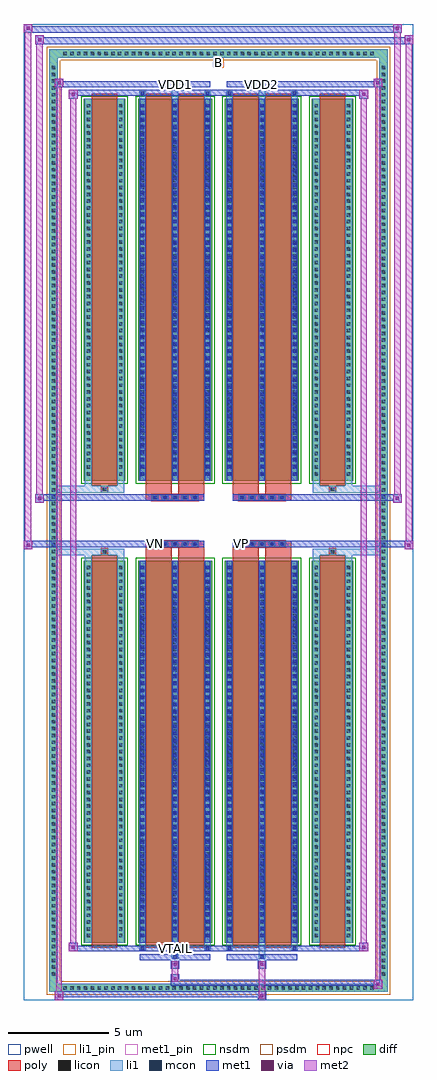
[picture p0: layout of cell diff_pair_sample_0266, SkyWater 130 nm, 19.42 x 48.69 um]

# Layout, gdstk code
import gdstk
lib = gdstk.Library(unit=1e-6, precision=5e-09)
def R(c, l, rs):  # rectangles x0, y0, x1, y1
    for r in rs: c.add(gdstk.rectangle(r[:2], r[2:], *l))
def A(c, l, x, y, w, h, nx, ny, dx, dy):  # array of equal rectangles
    R(c, l, [(x+i*dx, y+j*dy, x+i*dx+w, y+j*dy+h) for i in range(nx) for j in range(ny)])
def P(c, l, *ps):  # polygons
    for p in ps: c.add(gdstk.Polygon(p, *l))
pwell = (64, 44)
diff = (65, 20)
poly = (66, 20)
licon = (66, 44)
li1_pin = (67, 16)
li1 = (67, 20)
mcon = (67, 44)
met1_pin = (68, 16)
met1 = (68, 20)
via = (68, 44)
met2 = (69, 20)
nsdm = (93, 44)
psdm = (94, 20)
npc = (95, 20)

diff_pair_sample_0266 = lib.new_cell('diff_pair_sample_0266')
R(diff_pair_sample_0266, pwell, [(-9.71,-23.91,9.71,24.78), (-7.03,-22.1,-0.01,-0.8), (0.01,-22.1,7.03,-0.8), (-7.03,0.8,-0.01,22.1), (0.01,0.8,7.03,22.1)])
A(diff_pair_sample_0266, diff, -7.855, -23.51, 0.41, 0.41, 46, 2, 0.34, 46.61)
A(diff_pair_sample_0266, diff, -8.44, -22.815, 0.41, 0.41, 1, 134, 0, 0.34)
A(diff_pair_sample_0266, diff, 8.03, -22.815, 0.41, 0.41, 1, 134, 0, 0.34)
R(diff_pair_sample_0266, diff, [(-7.855,-23.51,7.855,-23.1), (-8.44,-22.815,-8.03,22.815), (8.03,-22.815,8.44,22.815), (-6.72,-21.055,-4.65,-1.985), (-4.01,-21.055,-0.32,-1.985), (0.32,-21.055,4.01,-1.985), (4.65,-21.055,6.72,-1.985), (-6.72,1.985,-4.65,21.055), (-4.01,1.985,-0.32,21.055), (0.32,1.985,4.01,21.055), (4.65,1.985,6.72,21.055), (-7.855,23.1,7.855,23.51)])
P(diff_pair_sample_0266, diff, [(8.44,23.51),(-8.44,23.51),(-8.44,-23.1),(-8.03,-23.1),(-8.03,23.1),(8.03,23.1),(8.03,-23.1),(-8.03,-23.1),(-8.44,-23.1),(-8.44,-23.51),(8.44,-23.51)])
A(diff_pair_sample_0266, poly, -3.33, -1.33, 0.33, 0.33, 5, 2, 0.5, 2.33)
A(diff_pair_sample_0266, poly, 1, -1.33, 0.33, 0.33, 5, 2, 0.5, 2.33)
R(diff_pair_sample_0266, poly, [(-6.33,-21.305,-5.04,-1.735), (-3.62,-21.305,-2.33,-1.735), (-2,-21.305,-0.71,-1.735), (0.71,-21.305,2,-1.735), (2.33,-21.305,3.62,-1.735), (5.04,-21.305,6.33,-1.735), (-5.85,-1.735,-5.52,-1.405), (-5.85,-1.735,-5.52,-1.405), (-3.62,-1.735,-2.33,-1.33), (-2,-1.735,-0.71,-1.33), (0.71,-1.735,2,-1.33), (2.33,-1.735,3.62,-1.33), (5.52,-1.735,5.85,-1.405), (5.52,-1.735,5.85,-1.405), (-3.62,-1.33,-0.71,-1), (0.71,-1.33,3.62,-1), (-3.62,1,-0.71,1.33), (0.71,1,3.62,1.33), (-3.62,1.33,-2.33,1.735), (-2,1.33,-0.71,1.735), (0.71,1.33,2,1.735), (2.33,1.33,3.62,1.735), (-5.85,1.405,-5.52,1.735), (-5.85,1.405,-5.52,1.735), (5.52,1.405,5.85,1.735), (5.52,1.405,5.85,1.735), (-6.33,1.735,-5.04,21.305), (-3.62,1.735,-2.33,21.305), (-2,1.735,-0.71,21.305), (0.71,1.735,2,21.305), (2.33,1.735,3.62,21.305), (5.04,1.735,6.33,21.305)])
A(diff_pair_sample_0266, licon, -7.735, -23.39, 0.17, 0.17, 46, 2, 0.34, 46.61)
A(diff_pair_sample_0266, licon, -8.32, -22.695, 0.17, 0.17, 1, 134, 0, 0.34)
A(diff_pair_sample_0266, licon, 8.15, -22.695, 0.17, 0.17, 1, 134, 0, 0.34)
A(diff_pair_sample_0266, licon, -6.58, -20.785, 0.17, 0.17, 1, 55, 0, 0.34)
A(diff_pair_sample_0266, licon, -4.96, -20.785, 0.17, 0.17, 1, 55, 0, 0.34)
A(diff_pair_sample_0266, licon, -3.87, -20.785, 0.17, 0.17, 3, 55, 1.62, 0.34)
A(diff_pair_sample_0266, licon, 0.46, -20.785, 0.17, 0.17, 3, 55, 1.62, 0.34)
A(diff_pair_sample_0266, licon, 4.79, -20.785, 0.17, 0.17, 1, 55, 0, 0.34)
A(diff_pair_sample_0266, licon, 6.41, -20.785, 0.17, 0.17, 1, 55, 0, 0.34)
A(diff_pair_sample_0266, licon, -3.25, -1.25, 0.17, 0.17, 5, 2, 0.5, 2.33)
A(diff_pair_sample_0266, licon, 1.08, -1.25, 0.17, 0.17, 5, 2, 0.5, 2.33)
A(diff_pair_sample_0266, licon, -6.58, 2.255, 0.17, 0.17, 1, 55, 0, 0.34)
A(diff_pair_sample_0266, licon, -4.96, 2.255, 0.17, 0.17, 1, 55, 0, 0.34)
A(diff_pair_sample_0266, licon, -3.87, 2.255, 0.17, 0.17, 3, 55, 1.62, 0.34)
A(diff_pair_sample_0266, licon, 0.46, 2.255, 0.17, 0.17, 3, 55, 1.62, 0.34)
A(diff_pair_sample_0266, licon, 4.79, 2.255, 0.17, 0.17, 1, 55, 0, 0.34)
A(diff_pair_sample_0266, licon, 6.41, 2.255, 0.17, 0.17, 1, 55, 0, 0.34)
R(diff_pair_sample_0266, licon, [(-5.77,-1.655,-5.6,-1.485), (5.6,-1.655,5.77,-1.485), (-5.77,1.485,-5.6,1.655), (5.6,1.485,5.77,1.655)])
R(diff_pair_sample_0266, li1_pin, [(-0.25,22.6,0.25,23.1)])
A(diff_pair_sample_0266, li1, -7.815, -23.47, 0.33, 0.33, 46, 2, 0.34, 46.61)
A(diff_pair_sample_0266, li1, -8.4, -22.775, 0.33, 0.33, 1, 134, 0, 0.34)
A(diff_pair_sample_0266, li1, 8.07, -22.775, 0.33, 0.33, 1, 134, 0, 0.34)
A(diff_pair_sample_0266, li1, -3.95, -21.055, 0.33, 19.07, 3, 2, 1.62, 23.04)
A(diff_pair_sample_0266, li1, 0.38, -21.055, 0.33, 19.07, 3, 2, 1.62, 23.04)
A(diff_pair_sample_0266, li1, -6.66, -20.865, 0.33, 0.33, 1, 55, 0, 0.34)
A(diff_pair_sample_0266, li1, -5.04, -20.865, 0.33, 0.33, 1, 55, 0, 0.34)
A(diff_pair_sample_0266, li1, -3.95, -20.865, 0.33, 0.33, 3, 55, 1.62, 0.34)
A(diff_pair_sample_0266, li1, 0.38, -20.865, 0.33, 0.33, 3, 55, 1.62, 0.34)
A(diff_pair_sample_0266, li1, 4.71, -20.865, 0.33, 0.33, 1, 55, 0, 0.34)
A(diff_pair_sample_0266, li1, 6.33, -20.865, 0.33, 0.33, 1, 55, 0, 0.34)
A(diff_pair_sample_0266, li1, -3.87, -20.785, 0.17, 0.17, 3, 52, 1.62, 0.36)
A(diff_pair_sample_0266, li1, -3.87, -20.785, 0.17, 18.53, 3, 2, 1.62, 23.04)
A(diff_pair_sample_0266, li1, 0.46, -20.785, 0.17, 0.17, 3, 52, 1.62, 0.36)
A(diff_pair_sample_0266, li1, 0.46, -20.785, 0.17, 18.53, 3, 2, 1.62, 23.04)
A(diff_pair_sample_0266, li1, -3.33, -1.33, 0.33, 0.33, 5, 2, 0.5, 2.33)
A(diff_pair_sample_0266, li1, 1, -1.33, 0.33, 0.33, 5, 2, 0.5, 2.33)
A(diff_pair_sample_0266, li1, -6.66, 2.175, 0.33, 0.33, 1, 55, 0, 0.34)
A(diff_pair_sample_0266, li1, -5.04, 2.175, 0.33, 0.33, 1, 55, 0, 0.34)
A(diff_pair_sample_0266, li1, -3.95, 2.175, 0.33, 0.33, 3, 55, 1.62, 0.34)
A(diff_pair_sample_0266, li1, 0.38, 2.175, 0.33, 0.33, 3, 55, 1.62, 0.34)
A(diff_pair_sample_0266, li1, 4.71, 2.175, 0.33, 0.33, 1, 55, 0, 0.34)
A(diff_pair_sample_0266, li1, 6.33, 2.175, 0.33, 0.33, 1, 55, 0, 0.34)
A(diff_pair_sample_0266, li1, -3.87, 2.255, 0.17, 0.17, 3, 52, 1.62, 0.36)
A(diff_pair_sample_0266, li1, 0.46, 2.255, 0.17, 0.17, 3, 52, 1.62, 0.36)
R(diff_pair_sample_0266, li1, [(-8.44,-23.51,-8.03,-23.1), (-8.44,-23.51,-8.03,-23.1), (-8.03,-23.51,8.03,-23.1), (8.03,-23.51,8.44,-23.1), (8.03,-23.51,8.44,-23.1), (-8.44,-23.1,-8.03,23.1), (8.03,-23.1,8.44,23.1), (-2.33,-21.86,-2,-21.055), (-2.25,-21.86,-2.08,-21.69), (2,-21.86,2.33,-21.055), (2.08,-21.86,2.25,-21.69), (-3.95,-21.43,-3.62,-21.055), (-3.87,-21.43,-3.7,-21.26), (-0.71,-21.43,-0.38,-21.055), (-0.63,-21.43,-0.46,-21.26), (0.38,-21.43,0.71,-21.055), (0.46,-21.43,0.63,-21.26), (3.62,-21.43,3.95,-21.055), (3.7,-21.43,3.87,-21.26), (-6.66,-21.055,-6.33,-1.985), (-5.04,-21.055,-4.71,-1.985), (4.71,-21.055,5.04,-1.985), (6.33,-21.055,6.66,-1.985), (-6.66,-1.985,-6.33,-1.405), (-5.04,-1.985,-4.71,-1.405), (4.71,-1.985,5.04,-1.405), (6.33,-1.985,6.66,-1.405), (-8.44,-1.735,-5.85,-1.405), (-6.66,-1.735,-5.85,-1.405), (-5.85,-1.735,-5.52,-1.405), (-5.52,-1.735,-4.71,-1.405), (4.71,-1.735,5.52,-1.405), (5.52,-1.735,5.85,-1.405), (5.52,-1.735,8.44,-1.405), (5.85,-1.735,6.66,-1.405), (-8.44,1.405,-5.85,1.735), (-6.66,1.405,-5.85,1.735), (-6.66,1.405,-6.33,1.985), (-5.85,1.405,-5.52,1.735), (-5.52,1.405,-4.71,1.735), (-5.04,1.405,-4.71,1.985), (4.71,1.405,5.52,1.735), (4.71,1.405,5.04,1.985), (5.52,1.405,5.85,1.735), (5.52,1.405,8.44,1.735), (5.85,1.405,6.66,1.735), (6.33,1.405,6.66,1.985), (-6.66,1.985,-6.33,21.055), (-5.04,1.985,-4.71,21.055), (4.71,1.985,5.04,21.055), (6.33,1.985,6.66,21.055), (-3.95,21.055,-3.62,21.43), (-2.33,21.055,-2,21.86), (-0.71,21.055,-0.38,21.43), (0.38,21.055,0.71,21.43), (2,21.055,2.33,21.86), (3.62,21.055,3.95,21.43), (-3.87,21.26,-3.7,21.43), (-0.63,21.26,-0.46,21.43), (0.46,21.26,0.63,21.43), (3.7,21.26,3.87,21.43), (-2.25,21.69,-2.08,21.86), (2.08,21.69,2.25,21.86), (-8.44,23.1,-8.03,23.51), (-8.44,23.1,-8.03,23.51), (-8.03,23.1,8.03,23.51), (8.03,23.1,8.44,23.51), (8.03,23.1,8.44,23.51)])
A(diff_pair_sample_0266, mcon, -3.87, -20.785, 0.17, 0.17, 3, 52, 1.62, 0.36)
A(diff_pair_sample_0266, mcon, 0.46, -20.785, 0.17, 0.17, 3, 52, 1.62, 0.36)
A(diff_pair_sample_0266, mcon, -3.25, -1.25, 0.17, 0.17, 5, 2, 0.5, 2.33)
A(diff_pair_sample_0266, mcon, 1.08, -1.25, 0.17, 0.17, 5, 2, 0.5, 2.33)
A(diff_pair_sample_0266, mcon, -3.87, 2.255, 0.17, 0.17, 3, 52, 1.62, 0.36)
A(diff_pair_sample_0266, mcon, 0.46, 2.255, 0.17, 0.17, 3, 52, 1.62, 0.36)
R(diff_pair_sample_0266, mcon, [(-2.25,-21.86,-2.08,-21.69), (2.08,-21.86,2.25,-21.69), (-3.87,-21.43,-3.7,-21.26), (-0.63,-21.43,-0.46,-21.26), (0.46,-21.43,0.63,-21.26), (3.7,-21.43,3.87,-21.26), (-3.87,21.26,-3.7,21.43), (-0.63,21.26,-0.46,21.43), (0.46,21.26,0.63,21.43), (3.7,21.26,3.87,21.43), (-2.25,21.69,-2.08,21.86), (2.08,21.69,2.25,21.86)])
R(diff_pair_sample_0266, met1_pin, [(-2.3,-21.47,-2.03,-21.2), (-3.3,-1.29,-3.03,-1.02), (1.03,-1.29,1.3,-1.02), (-2.3,21.65,-2.03,21.92), (2.03,21.65,2.3,21.92)])
A(diff_pair_sample_0266, met1, -3.93, -21.055, 0.29, 19.07, 3, 2, 1.62, 23.04)
A(diff_pair_sample_0266, met1, 0.4, -21.055, 0.29, 19.07, 3, 2, 1.62, 23.04)
A(diff_pair_sample_0266, met1, -3.93, -20.845, 0.29, 0.29, 3, 52, 1.62, 0.36)
A(diff_pair_sample_0266, met1, 0.4, -20.845, 0.29, 0.29, 3, 52, 1.62, 0.36)
A(diff_pair_sample_0266, met1, -3.31, -1.31, 0.29, 0.29, 5, 2, 0.5, 2.33)
A(diff_pair_sample_0266, met1, 1.02, -1.31, 0.29, 0.29, 5, 2, 0.5, 2.33)
A(diff_pair_sample_0266, met1, -3.93, 2.195, 0.29, 0.29, 3, 52, 1.62, 0.36)
A(diff_pair_sample_0266, met1, 0.4, 2.195, 0.29, 0.29, 3, 52, 1.62, 0.36)
R(diff_pair_sample_0266, met1, [(-8.17,-23.91,-7.74,-23.48), (1.95,-23.91,2.38,-23.48), (-8.17,-23.77,2.38,-23.48), (7.74,-23.34,8.17,-22.91), (-2.38,-23.2,8.17,-22.91), (-2.38,-23.06,-1.95,-22.63), (-2.38,-22.35,-1.95,-21.92), (1.95,-22.35,2.38,-21.92), (-3.93,-21.92,-0.4,-21.63), (-2.31,-21.92,-2.02,-21.63), (0.4,-21.92,3.93,-21.63), (2.02,-21.92,2.31,-21.63), (-7.46,-21.49,-3.93,-21.2), (-7.46,-21.49,-7.03,-21.06), (-3.93,-21.49,-3.64,-21.2), (-3.93,-21.49,-0.4,-21.2), (-0.69,-21.49,-0.4,-21.2), (-0.4,-21.49,0.4,-21.2), (0.4,-21.49,0.69,-21.2), (0.4,-21.49,3.93,-21.2), (3.64,-21.49,3.93,-21.2), (3.93,-21.49,7.46,-21.2), (7.03,-21.49,7.46,-21.06), (-9.71,-1.43,-9.28,-1), (9.28,-1.43,9.71,-1), (-9.71,-1.33,-0.71,-1), (-3.62,-1.33,-0.71,-1), (0.71,-1.33,3.62,-1), (0.71,-1.33,9.71,-1), (-9.14,0.9,-8.71,1.33), (8.71,0.9,9.14,1.33), (-9.14,1,-3.62,1.33), (-3.62,1,-0.71,1.33), (0.71,1,3.62,1.33), (3.62,1,9.14,1.33), (-7.46,21.06,-7.03,21.49), (7.03,21.06,7.46,21.49), (-7.46,21.2,-3.93,21.49), (-3.93,21.2,-3.64,21.49), (-3.93,21.2,-0.4,21.49), (-0.69,21.2,-0.4,21.49), (-0.4,21.2,0.4,21.49), (0.4,21.2,0.69,21.49), (0.4,21.2,3.93,21.49), (3.64,21.2,3.93,21.49), (3.93,21.2,7.46,21.49), (-8.17,21.63,-7.74,22.06), (-8.17,21.63,-3.93,21.92), (-3.93,21.63,-0.4,21.92), (-2.31,21.63,-2.02,21.92), (0.4,21.63,3.93,21.92), (2.02,21.63,2.31,21.92), (3.93,21.63,8.17,21.92), (7.74,21.63,8.17,22.06), (-9.14,23.78,-8.71,24.21), (-9.14,23.78,-7.03,24.11), (-7.03,23.78,7.03,24.11), (7.03,23.78,9.71,24.11), (9.28,23.78,9.71,24.21), (-9.71,24.35,-9.28,24.78), (-9.71,24.35,-7.03,24.68), (-7.03,24.35,7.03,24.68), (7.03,24.35,9.14,24.68), (8.71,24.35,9.14,24.78)])
R(diff_pair_sample_0266, via, [(-8.03,-23.77,-7.88,-23.62), (2.09,-23.77,2.24,-23.62), (7.88,-23.2,8.03,-23.05), (-2.24,-22.92,-2.09,-22.77), (-2.24,-22.21,-2.09,-22.06), (2.09,-22.21,2.24,-22.06), (-7.32,-21.35,-7.17,-21.2), (7.17,-21.35,7.32,-21.2), (-9.57,-1.29,-9.42,-1.14), (9.42,-1.29,9.57,-1.14), (-9,1.04,-8.85,1.19), (8.85,1.04,9,1.19), (-7.32,21.2,-7.17,21.35), (7.17,21.2,7.32,21.35), (-8.03,21.77,-7.88,21.92), (7.88,21.77,8.03,21.92), (-9,23.92,-8.85,24.07), (9.42,23.92,9.57,24.07), (-9.57,24.49,-9.42,24.64), (8.85,24.49,9,24.64)])
R(diff_pair_sample_0266, met2, [(-8.17,-23.91,-7.74,-23.48), (-8.1,-23.91,-7.81,22.06), (-7.81,-23.91,-7.74,-23.48), (-8.12,-23.86,-7.79,-23.53), (2,-23.86,2.33,-23.53), (2,-23.53,2.33,-22.3), (7.74,-23.34,8.17,-22.91), (7.81,-23.34,8.1,22.06), (8.1,-23.34,8.17,-22.91), (7.79,-23.29,8.12,-22.96), (-2.33,-23.01,-2,-22.68), (-2.33,-22.68,-2,-22.3), (-2.33,-22.3,-2,-21.97), (2,-22.3,2.33,-21.97), (-7.46,-21.49,-7.03,-21.06), (-7.39,-21.49,-7.1,21.49), (-7.1,-21.49,-7.03,-21.06), (7.03,-21.49,7.46,-21.06), (7.1,-21.49,7.39,21.49), (7.39,-21.49,7.46,-21.06), (-7.41,-21.44,-7.08,-21.11), (7.08,-21.44,7.41,-21.11), (-9.71,-1.43,-9.28,-1), (-9.66,-1.43,-9.33,24.78), (-9.33,-1.43,-9.28,-1), (9.28,-1.43,9.71,-1), (9.33,-1.43,9.66,24.21), (9.66,-1.43,9.71,-1), (-9.66,-1.38,-9.33,-1.05), (9.33,-1.38,9.66,-1.05), (-9.14,0.9,-8.71,1.33), (-9.09,0.9,-8.76,24.21), (-8.76,0.9,-8.71,1.33), (8.71,0.9,9.14,1.33), (8.76,0.9,9.09,24.78), (9.09,0.9,9.14,1.33), (-9.09,0.95,-8.76,1.28), (8.76,0.95,9.09,1.28), (-7.46,21.06,-7.03,21.49), (-7.1,21.06,-7.03,21.49), (7.03,21.06,7.46,21.49), (7.39,21.06,7.46,21.49), (-7.41,21.11,-7.08,21.44), (7.08,21.11,7.41,21.44), (-8.17,21.63,-7.74,22.06), (-7.81,21.63,-7.74,22.06), (7.74,21.63,8.17,22.06), (8.1,21.63,8.17,22.06), (-8.12,21.68,-7.79,22.01), (7.79,21.68,8.12,22.01), (-9.14,23.78,-8.71,24.21), (-8.76,23.78,-8.71,24.21), (9.28,23.78,9.71,24.21), (9.66,23.78,9.71,24.21), (-9.09,23.83,-8.76,24.16), (9.33,23.83,9.66,24.16), (-9.71,24.35,-9.28,24.78), (-9.33,24.35,-9.28,24.78), (8.71,24.35,9.14,24.78), (9.09,24.35,9.14,24.78), (-9.66,24.4,-9.33,24.73), (8.76,24.4,9.09,24.73)])
R(diff_pair_sample_0266, nsdm, [(-6.85,-21.185,-4.52,-1.855), (-4.14,-21.185,-0.19,-1.855), (0.19,-21.185,4.14,-1.855), (4.52,-21.185,6.85,-1.855), (-6.85,1.855,-4.52,21.185), (-4.14,1.855,-0.19,21.185), (0.19,1.855,4.14,21.185), (4.52,1.855,6.85,21.185)])
P(diff_pair_sample_0266, psdm, [(8.57,23.64),(-8.57,23.64),(-8.57,-22.97),(-7.9,-22.97),(-7.9,22.97),(7.9,22.97),(7.9,-22.97),(-7.9,-22.97),(-8.57,-22.97),(-8.57,-23.64),(8.57,-23.64)])
A(diff_pair_sample_0266, npc, -3.35, -1.35, 0.37, 0.37, 5, 2, 0.5, 2.33)
A(diff_pair_sample_0266, npc, 0.98, -1.35, 0.37, 0.37, 5, 2, 0.5, 2.33)
R(diff_pair_sample_0266, npc, [(-5.87,-1.755,-5.5,-1.385), (5.5,-1.755,5.87,-1.385), (-3.35,-1.35,-2.48,-0.98), (-3.35,-1.35,-2.48,-0.98), (-2.85,-1.35,-1.98,-0.98), (-2.85,-1.35,-1.98,-0.98), (-2.35,-1.35,-1.48,-0.98), (-2.35,-1.35,-1.48,-0.98), (-1.85,-1.35,-0.98,-0.98), (-1.85,-1.35,-0.98,-0.98), (0.98,-1.35,1.85,-0.98), (0.98,-1.35,1.85,-0.98), (1.48,-1.35,2.35,-0.98), (1.48,-1.35,2.35,-0.98), (1.98,-1.35,2.85,-0.98), (1.98,-1.35,2.85,-0.98), (2.48,-1.35,3.35,-0.98), (2.48,-1.35,3.35,-0.98), (-3.35,0.98,-2.48,1.35), (-3.35,0.98,-2.48,1.35), (-2.85,0.98,-1.98,1.35), (-2.85,0.98,-1.98,1.35), (-2.35,0.98,-1.48,1.35), (-2.35,0.98,-1.48,1.35), (-1.85,0.98,-0.98,1.35), (-1.85,0.98,-0.98,1.35), (0.98,0.98,1.85,1.35), (0.98,0.98,1.85,1.35), (1.48,0.98,2.35,1.35), (1.48,0.98,2.35,1.35), (1.98,0.98,2.85,1.35), (1.98,0.98,2.85,1.35), (2.48,0.98,3.35,1.35), (2.48,0.98,3.35,1.35), (-5.87,1.385,-5.5,1.755), (5.5,1.385,5.87,1.755)])
diff_pair_sample_0266.add(gdstk.Label('VTAIL', (-2.165,-21.335), layer=68, texttype=5))
diff_pair_sample_0266.add(gdstk.Label('VN', (-3.165,-1.155), layer=68, texttype=5))
diff_pair_sample_0266.add(gdstk.Label('VP', (1.165,-1.155), layer=68, texttype=5))
diff_pair_sample_0266.add(gdstk.Label('B', (0,22.85), layer=67, texttype=5))
diff_pair_sample_0266.add(gdstk.Label('VDD2', (2.165,21.785), layer=68, texttype=5))
diff_pair_sample_0266.add(gdstk.Label('VDD1', (-2.165,21.785), layer=68, texttype=5))

lib.write_gds('diff_pair_sample_0266.gds')
